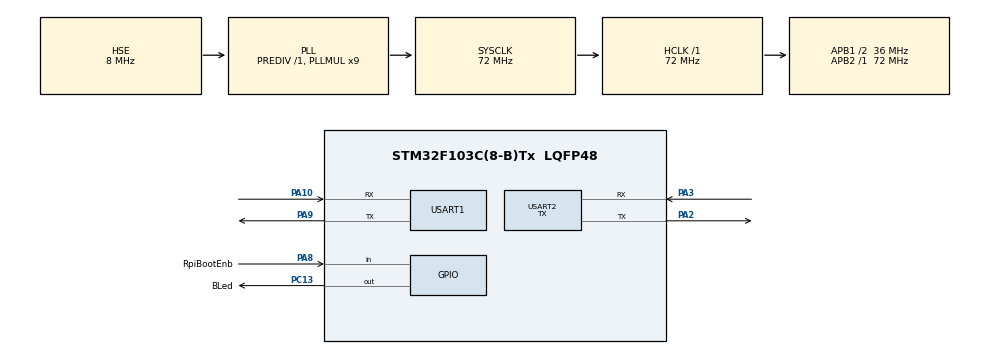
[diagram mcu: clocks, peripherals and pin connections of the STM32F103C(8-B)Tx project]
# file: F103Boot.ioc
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Mcu.Family=STM32F1
Mcu.Name=STM32F103C(8-B)Tx
Mcu.Package=LQFP48
NVIC.PriorityGroup=NVIC_PRIORITYGROUP_4
NVIC.USART1_IRQn=true\:0\:0\:false\:false\:true\:true\:true\:true
PA10.Mode=Asynchronous
PA10.Signal=USART1_RX
PA13.Mode=Serial_Wire
PA13.Signal=SYS_JTMS-SWDIO
PA14.Mode=Serial_Wire
PA14.Signal=SYS_JTCK-SWCLK
PA2.Mode=Asynchronous
PA2.Signal=USART2_TX
PA3.Mode=Asynchronous
PA3.Signal=USART2_RX
PA8.GPIO_Label=RpiBootEnb
PA8.Signal=GPIO_Input
PA9.Mode=Asynchronous
PA9.Signal=USART1_TX
PC13-TAMPER-RTC.GPIO_Label=BLed
PC13-TAMPER-RTC.Signal=GPIO_Output
PD0-OSC_IN.Mode=HSE-External-Oscillator
PD0-OSC_IN.Signal=RCC_OSC_IN
PD1-OSC_OUT.Mode=HSE-External-Oscillator
PD1-OSC_OUT.Signal=RCC_OSC_OUT
ProjectManager.HeapSize=0x200
ProjectManager.StackSize=0x400
ProjectManager.TargetToolchain=STM32CubeIDE
RCC.AHBFreq_Value=72000000
RCC.APB1CLKDivider=RCC_HCLK_DIV2
RCC.APB1Freq_Value=36000000
RCC.APB1TimFreq_Value=72000000
RCC.APB2Freq_Value=72000000
RCC.APB2TimFreq_Value=72000000
RCC.HCLKFreq_Value=72000000
RCC.PLLMUL=RCC_PLL_MUL9
RCC.PLLSourceVirtual=RCC_PLLSOURCE_HSE
RCC.SYSCLKFreq_VALUE=72000000
RCC.SYSCLKSource=RCC_SYSCLKSOURCE_PLLCLK
RCC.USBFreq_Value=72000000
USART1.VirtualMode=VM_ASYNC
USART2.Mode=MODE_TX
USART2.VirtualMode=VM_ASYNC
board=custom

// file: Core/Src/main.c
/* USER CODE BEGIN Header */
/**
  ******************************************************************************
  * @file           : main.c
  * @brief          : Main program body
  ******************************************************************************
  * @attention
  *
  * Copyright (c) 2023 STMicroelectronics.
  * All rights reserved.
  *
  * This software is licensed under terms that can be found in the LICENSE file
  * in the root directory of this software component.
  * If no LICENSE file comes with this software, it is provided AS-IS.
  *
  ******************************************************************************
  */
/* USER CODE END Header */
#include "main.h"

/* USER CODE BEGIN Includes */
#include <stdio.h>
#include <string.h>
#include <stdbool.h>
/* USER CODE END Includes */

/* USER CODE BEGIN PTD */
// Memory configuration
#define MAX_BLOCK_SIZE          1024                      // 1KB block size
#define ETX_APP_START_ADDRESS   0x08004400                // Application start address
#define MAX_FIRMWARE_SIZE       (47 * 1024)               // 47KB max for F103

// Protocol constants
#define PROTOCOL_START_BYTE     '{'
#define PROTOCOL_END_BYTE       '}'
#define PROTOCOL_ACK_BYTE       'O'
#define PROTOCOL_NACK_BYTE      'N'

// Handshake validation
#define HANDSHAKE_MIN_INDEX     4
#define HANDSHAKE_MAX_INDEX     8

// Flash configuration
#define FLASH_ERASE_PAGES       47                        // Number of pages to erase

// State machine - Clean enum instead of magic numbers
typedef enum {
    BOOTLOADER_STATE_IDLE = 0,
    BOOTLOADER_STATE_HANDSHAKE_RECEIVED = 10,
    BOOTLOADER_STATE_TRANSFERRING = 20,
    BOOTLOADER_STATE_COMPLETE = 30,
    BOOTLOADER_STATE_ERROR = 255
} BootloaderState_t;

/* USER CODE END PTD */

UART_HandleTypeDef huart1;
UART_HandleTypeDef huart2;

void SystemClock_Config(void);
static void MX_GPIO_Init(void);
static void MX_USART1_UART_Init(void);
static void MX_USART2_UART_Init(void);
/* USER CODE BEGIN PFP */
static void Application( void );
static void Firmware_Update( void );

// Helper functions for better code organization
static bool Validate_Handshake_Byte(uint8_t byte);
static bool Parse_Firmware_Size(void);
static void Send_ACK_Response(void);
static void Handle_Block_Complete(void);
static uint8_t Calculate_Checksum(const uint8_t *block, uint32_t size);
static void Reset_Transfer_State(void);

/* USER CODE END PFP */

/* USER CODE BEGIN 0 */
// ============================================================================
// BOOTLOADER STATE MACHINE VARIABLES
// ============================================================================
static BootloaderState_t bootloader_state = BOOTLOADER_STATE_IDLE;
static uint8_t ack_byte = PROTOCOL_ACK_BYTE;

// ============================================================================
// UART RECEPTION VARIABLES
// ============================================================================
static uint8_t uart_rx_byte = 0;

// ============================================================================
// DATA BLOCK RECEPTION VARIABLES
// ============================================================================
static uint8_t data_block[MAX_BLOCK_SIZE];
static uint16_t block_index = 0;
static uint32_t block_index_saved = 0;  // Saved before reset for checksum

// ============================================================================
// FIRMWARE SIZE TRACKING
// ============================================================================
static uint32_t firmware_total_size = 0;
static uint32_t firmware_received_size = 0;
static uint32_t bytes_remaining = MAX_BLOCK_SIZE;
static uint32_t current_block_size = MAX_BLOCK_SIZE;

// ============================================================================
// CHECKSUM VARIABLES
// ============================================================================
static uint8_t checksum_response[1] = {0};

// ============================================================================
// FLASH WRITE VARIABLES
// ============================================================================
static uint32_t flash_write_index = 0;

// ============================================================================
// TIMEOUT AND STATUS COUNTERS
// ============================================================================
static uint8_t handshake_count = 0;
static uint32_t idle_timeout_counter = 0;
static bool transfer_error_flag = false;

/* USER CODE END 0 */

int main(void)
{

  /* MCU Configuration--------------------------------------------------------*/

  /* Reset of all peripherals, Initializes the Flash interface and the Systick. */
  HAL_Init();

  /* Configure the system clock */
  SystemClock_Config();

  /* Initialize all configured peripherals */
  MX_GPIO_Init();
  MX_USART1_UART_Init();
  MX_USART2_UART_Init();
  /* USER CODE BEGIN 2 */

  // Print banner
  printf("\r\n");
  printf("╔════════════════════════════════════════════════════════════════╗\r\n");
  printf("║       STM32F103 Bootloader v3.0 (Production Quality)          ║\r\n");
  printf("╠════════════════════════════════════════════════════════════════╣\r\n");
  printf("║  Application: 0x%08lX                                      ║\r\n", ETX_APP_START_ADDRESS);
  printf("║  Max Size:    %d KB                                         ║\r\n", MAX_FIRMWARE_SIZE / 1024);
  printf("║  Block Size:  %d bytes                                      ║\r\n", MAX_BLOCK_SIZE);
  printf("╚════════════════════════════════════════════════════════════════╝\r\n");
  printf("\r\n");

  // Start UART reception in interrupt mode
  HAL_UART_Receive_IT(&huart1, &uart_rx_byte, 1);

  // Run firmware update process
  Firmware_Update();

  // Jump to user application
  Application();

  /* USER CODE END 2 */

  /* Infinite loop */
  while (1)
  {

  }
}

void SystemClock_Config(void)
{
  RCC_OscInitTypeDef RCC_OscInitStruct = {0};
  RCC_ClkInitTypeDef RCC_ClkInitStruct = {0};

  /** Initializes the RCC Oscillators according to the specified parameters
  * in the RCC_OscInitTypeDef structure.
  */
  RCC_OscInitStruct.OscillatorType = RCC_OSCILLATORTYPE_HSE;
  RCC_OscInitStruct.HSEState = RCC_HSE_ON;
  RCC_OscInitStruct.HSEPredivValue = RCC_HSE_PREDIV_DIV1;
  RCC_OscInitStruct.HSIState = RCC_HSI_ON;
  RCC_OscInitStruct.PLL.PLLState = RCC_PLL_ON;
  RCC_OscInitStruct.PLL.PLLSource = RCC_PLLSOURCE_HSE;
  RCC_OscInitStruct.PLL.PLLMUL = RCC_PLL_MUL9;
  if (HAL_RCC_OscConfig(&RCC_OscInitStruct) != HAL_OK)
  {
    Error_Handler();
  }

  /** Initializes the CPU, AHB and APB buses clocks
  */
  RCC_ClkInitStruct.ClockType = RCC_CLOCKTYPE_HCLK|RCC_CLOCKTYPE_SYSCLK
                              |RCC_CLOCKTYPE_PCLK1|RCC_CLOCKTYPE_PCLK2;
  RCC_ClkInitStruct.SYSCLKSource = RCC_SYSCLKSOURCE_PLLCLK;
  RCC_ClkInitStruct.AHBCLKDivider = RCC_SYSCLK_DIV1;
  RCC_ClkInitStruct.APB1CLKDivider = RCC_HCLK_DIV2;
  RCC_ClkInitStruct.APB2CLKDivider = RCC_HCLK_DIV1;

  if (HAL_RCC_ClockConfig(&RCC_ClkInitStruct, FLASH_LATENCY_2) != HAL_OK)
  {
    Error_Handler();
  }
}

static void MX_USART1_UART_Init(void)
{

  huart1.Instance = USART1;
  huart1.Init.BaudRate = 115200;
  huart1.Init.WordLength = UART_WORDLENGTH_8B;
  huart1.Init.StopBits = UART_STOPBITS_1;
  huart1.Init.Parity = UART_PARITY_NONE;
  huart1.Init.Mode = UART_MODE_TX_RX;
  huart1.Init.HwFlowCtl = UART_HWCONTROL_NONE;
  huart1.Init.OverSampling = UART_OVERSAMPLING_16;
  if (HAL_UART_Init(&huart1) != HAL_OK)
  {
    Error_Handler();
  }

}

static void MX_USART2_UART_Init(void)
{

  huart2.Instance = USART2;
  huart2.Init.BaudRate = 115200;
  huart2.Init.WordLength = UART_WORDLENGTH_8B;
  huart2.Init.StopBits = UART_STOPBITS_1;
  huart2.Init.Parity = UART_PARITY_NONE;
  huart2.Init.Mode = UART_MODE_TX;
  huart2.Init.HwFlowCtl = UART_HWCONTROL_NONE;
  huart2.Init.OverSampling = UART_OVERSAMPLING_16;
  if (HAL_UART_Init(&huart2) != HAL_OK)
  {
    Error_Handler();
  }

}

static void MX_GPIO_Init(void)
{
  GPIO_InitTypeDef GPIO_InitStruct = {0};

  /* GPIO Ports Clock Enable */
  __HAL_RCC_GPIOC_CLK_ENABLE();
  __HAL_RCC_GPIOD_CLK_ENABLE();
  __HAL_RCC_GPIOA_CLK_ENABLE();

  /*Configure GPIO pin Output Level */
  HAL_GPIO_WritePin(BLed_GPIO_Port, BLed_Pin, GPIO_PIN_RESET);

  /*Configure GPIO pin : BLed_Pin */
  GPIO_InitStruct.Pin = BLed_Pin;
  GPIO_InitStruct.Mode = GPIO_MODE_OUTPUT_PP;
  GPIO_InitStruct.Pull = GPIO_NOPULL;
  GPIO_InitStruct.Speed = GPIO_SPEED_FREQ_LOW;
  HAL_GPIO_Init(BLed_GPIO_Port, &GPIO_InitStruct);

  /*Configure GPIO pin : RpiBootEnb_Pin */
  GPIO_InitStruct.Pin = RpiBootEnb_Pin;
  GPIO_InitStruct.Mode = GPIO_MODE_INPUT;
  GPIO_InitStruct.Pull = GPIO_NOPULL;
  HAL_GPIO_Init(RpiBootEnb_GPIO_Port, &GPIO_InitStruct);

}

/* USER CODE BEGIN 4 */

#ifdef __GNUC__
  /* With GCC, small printf (option LD Linker->Libraries->Small printf
     set to 'Yes') calls __io_putchar() */
int __io_putchar(int ch)
#else
int fputc(int ch, FILE *f)
#endif /* __GNUC__ */
{
  /* Place your implementation of fputc here */
  /* e.g. write a character to the UART3 and Loop until the end of transmission */
  HAL_UART_Transmit(&huart2, (uint8_t *)&ch, 1, HAL_MAX_DELAY);

  return ch;
}

/**
  * @brief  Write data block to application flash area
  * @param  data: Pointer to data buffer
  * @param  data_len: Length of data in bytes
  * @param  is_first_block: true if this is the first block (triggers erase)
  * @retval HAL_StatusTypeDef
  */
static HAL_StatusTypeDef write_data_to_flash_app(uint8_t *data,
                                                  uint16_t data_len,
                                                  bool is_first_block)
{
    HAL_StatusTypeDef status = HAL_OK;

    // Validate input parameters
    if(data == NULL || data_len == 0)
    {
        printf("ERROR: Invalid flash write parameters\r\n");
        return HAL_ERROR;
    }

    // Unlock flash for write operations
    status = HAL_FLASH_Unlock();
    if(status != HAL_OK)
    {
        printf("ERROR: Flash unlock failed\r\n");
        return status;
    }

    // Erase flash on first block
    if(is_first_block)
    {
        printf("Erasing application flash area...\r\n");

        FLASH_EraseInitTypeDef erase_config;
        uint32_t erase_error = 0;

        erase_config.TypeErase = FLASH_TYPEERASE_PAGES;
        erase_config.PageAddress = ETX_APP_START_ADDRESS;
        erase_config.NbPages = FLASH_ERASE_PAGES;

        // CRITICAL: Disable interrupts during erase to prevent corruption
        __disable_irq();
        status = HAL_FLASHEx_Erase(&erase_config, &erase_error);
        __enable_irq();

        if(status != HAL_OK)
        {
            printf("ERROR: Flash erase failed (error: 0x%08lX)\r\n", erase_error);
            HAL_FLASH_Lock();
            return status;
        }

        flash_write_index = 0;
        printf("Flash erase complete\r\n");
    }

    // Write data (F103 uses HALFWORD programming)
    uint32_t write_address = ETX_APP_START_ADDRESS + flash_write_index;

    for(uint16_t i = 0; i < data_len; i += 2)
    {
        uint16_t halfword;

        // Handle odd data length
        if(i + 1 < data_len)
        {
            halfword = data[i] | (data[i + 1] << 8);
        }
        else
        {
            halfword = data[i] | 0xFF00;  // Pad with 0xFF
        }

        status = HAL_FLASH_Program(FLASH_TYPEPROGRAM_HALFWORD,
                                   write_address,
                                   halfword);

        if(status != HAL_OK)
        {
            printf("ERROR: Flash write failed at 0x%08lX\r\n", write_address);
            break;
        }

        write_address += 2;
        flash_write_index += 2;
    }

    // Lock flash
    HAL_FLASH_Lock();

    return status;
}

/**
  * @brief  Calculate checksum (first byte + last byte) & 0xFF
  * @param  block: Pointer to data block
  * @param  size: Size of block
  * @retval Calculated checksum
  */
static uint8_t Calculate_Checksum(const uint8_t *block, uint32_t size)
{
    if(block == NULL || size == 0)
    {
        return 0;
    }

    return (block[0] + block[size - 1]) & 0xFF;
}

/**
  * @brief  Reset transfer state to idle
  * @retval None
  */
static void Reset_Transfer_State(void)
{
    bootloader_state = BOOTLOADER_STATE_IDLE;
    block_index = 0;
    firmware_total_size = 0;
    firmware_received_size = 0;
    bytes_remaining = MAX_BLOCK_SIZE;
    current_block_size = MAX_BLOCK_SIZE;
    transfer_error_flag = false;
    memset(data_block, 0, sizeof(data_block));
}

/**
  * @brief  UART RX Callback - Called on each byte received
  * @param  huart: UART handle
  * @retval None
  */
void HAL_UART_RxCpltCallback(UART_HandleTypeDef *huart)
{
    // Reset idle counter
    idle_timeout_counter = 0;

    // LED toggle for activity indication
    HAL_GPIO_TogglePin(BLed_GPIO_Port, BLed_Pin);

    // Buffer overflow protection - CRITICAL SAFETY CHECK
    if(block_index >= MAX_BLOCK_SIZE)
    {
        printf("ERROR: Buffer overflow detected!\r\n");
        transfer_error_flag = true;
        block_index = 0;
        HAL_UART_Receive_IT(&huart1, &uart_rx_byte, 1);
        return;
    }

    // Store received byte
    data_block[block_index++] = uart_rx_byte;

    // ===========================================================================
    // HANDSHAKE STATE: Wait for {SIZE} packet
    // ===========================================================================
    if(bootloader_state != BOOTLOADER_STATE_TRANSFERRING)
    {
        // Look for start byte '{'
        if((PROTOCOL_START_BYTE == uart_rx_byte || data_block[0] == 0x7B) &&
           bootloader_state == BOOTLOADER_STATE_IDLE)
        {
            bootloader_state = BOOTLOADER_STATE_HANDSHAKE_RECEIVED;
        }

        // Check for complete handshake packet
        if(bootloader_state == BOOTLOADER_STATE_HANDSHAKE_RECEIVED &&
           (PROTOCOL_END_BYTE == uart_rx_byte || uart_rx_byte == 0x7D) &&
           block_index < HANDSHAKE_MAX_INDEX && block_index > HANDSHAKE_MIN_INDEX)
        {
            // Parse firmware size (big-endian)
            data_block[0] = 0;  // Clear markers
            data_block[5] = 0;
            firmware_total_size = ((uint32_t)data_block[1] << 24) |
                                 ((uint32_t)data_block[2] << 16) |
                                 ((uint32_t)data_block[3] << 8)  |
                                 ((uint32_t)data_block[4]);

            // Validate firmware size
            if(firmware_total_size > MAX_FIRMWARE_SIZE)
            {
                printf("ERROR: Firmware too large (%lu bytes). Max: %d KB\r\n",
                       firmware_total_size, MAX_FIRMWARE_SIZE / 1024);
                Reset_Transfer_State();
                HAL_UART_Receive_IT(&huart1, &uart_rx_byte, 1);
                return;
            }

            // Handshake successful
            printf("Handshake OK: Firmware size = %lu bytes\r\n", firmware_total_size);
            bytes_remaining = firmware_total_size;
            firmware_received_size = 0;
            handshake_count++;
            block_index = 0;
            bootloader_state = BOOTLOADER_STATE_TRANSFERRING;
        }
    }

    // ===========================================================================
    // DATA TRANSFER STATE: Receive firmware blocks
    // ===========================================================================
    if(block_index == current_block_size)
    {
        // Save block index before reset (needed for checksum)
        block_index_saved = block_index;

        // Update remaining bytes
        if(bytes_remaining >= MAX_BLOCK_SIZE)
        {
            bytes_remaining -= current_block_size;
            current_block_size = MAX_BLOCK_SIZE;
            firmware_received_size += current_block_size;
        }
        else if(bytes_remaining < MAX_BLOCK_SIZE)
        {
            current_block_size = bytes_remaining;
            firmware_received_size += current_block_size;
        }

        // Write to flash if block is complete or transfer is done
        if((block_index == MAX_BLOCK_SIZE) ||
           (firmware_received_size >= firmware_total_size))
        {
            printf("\rProgress: %lu / %lu bytes\r\n",
                   firmware_received_size, firmware_total_size);

            // Write block to flash
            if(write_data_to_flash_app(data_block, block_index_saved,
                                      (firmware_received_size <= MAX_BLOCK_SIZE)) != HAL_OK)
            {
                printf("ERROR: Flash write failed!\r\n");
                transfer_error_flag = true;
            }
        }

        // Reset block buffer
        block_index = 0;

        // Calculate and prepare checksum response
        checksum_response[0] = Calculate_Checksum(data_block, block_index_saved);
        memset(data_block, 0, sizeof(data_block));
    }

    // Re-enable UART interrupt for next byte
    HAL_UART_Receive_IT(&huart1, &uart_rx_byte, 1);
}
/**
  * @brief  Firmware update main loop
  * @retval None
  */
static void Firmware_Update(void)
{
    const uint32_t TIMEOUT_MS = 50000;  // 50 second timeout
    bool checksum_sent = false;

    printf("Bootloader ready - waiting for firmware...\r\n");

    while(1)
    {
        // Send ACK after successful handshake
        if(bootloader_state == BOOTLOADER_STATE_TRANSFERRING && !checksum_sent)
        {
            HAL_Delay(1);
            HAL_UART_Transmit_IT(&huart1, &ack_byte, 1);
            checksum_sent = true;
        }

        // Send checksum response if block complete
        if(block_index_saved > 0)
        {
            HAL_Delay(1);
            HAL_UART_Transmit_IT(&huart1, checksum_response, 1);
            block_index_saved = 0;
        }

        // LED heartbeat
        idle_timeout_counter++;
        if(idle_timeout_counter % 10 == 0)
        {
            HAL_GPIO_TogglePin(BLed_GPIO_Port, BLed_Pin);
        }

        HAL_Delay(1);

        // Check transfer complete
        if((firmware_received_size >= firmware_total_size) &&
           (bootloader_state == BOOTLOADER_STATE_TRANSFERRING) &&
           (idle_timeout_counter > 1000))
        {
            // Send final checksum
            HAL_UART_Transmit_IT(&huart1, checksum_response, 1);
            printf("Firmware transfer complete!\r\n");
            bootloader_state = BOOTLOADER_STATE_COMPLETE;
            break;
        }

        // Check timeout
        if(idle_timeout_counter > TIMEOUT_MS)
        {
            printf("Timeout: No data received\r\n");
            break;
        }

        // Check for errors
        if(transfer_error_flag)
        {
            printf("Transfer error detected\r\n");
            bootloader_state = BOOTLOADER_STATE_ERROR;
            break;
        }
    }
}
/**
  * @brief  Jump to user application
  * @retval None
  */
static void Application(void)
{
    printf("Preparing to jump to application...\r\n");

    // Get application reset handler address
    uint32_t app_reset_handler_address = *((volatile uint32_t*)(ETX_APP_START_ADDRESS + 4U));
    void (*app_reset_handler)(void) = (void*)app_reset_handler_address;

    // Validate application exists
    if(app_reset_handler_address == 0xFFFFFFFF)
    {
        printf("ERROR: No valid application found!\r\n");
        printf("Flash appears empty at 0x%08lX\r\n", ETX_APP_START_ADDRESS);
        while(1)
        {
            HAL_GPIO_TogglePin(BLed_GPIO_Port, BLed_Pin);
            HAL_Delay(200);  // Fast blink = error
        }
    }

    printf("Valid application found at 0x%08lX\r\n", ETX_APP_START_ADDRESS);
    printf("Reset handler: 0x%08lX\r\n", app_reset_handler_address);

    // Disable interrupts before jump
    __disable_irq();

    // Disable SysTick
    SysTick->CTRL = 0;
    SysTick->LOAD = 0;
    SysTick->VAL  = 0;

    // Set vector table offset
    SCB->VTOR = ETX_APP_START_ADDRESS;

    // Set stack pointer
    __set_MSP(*((volatile uint32_t*)ETX_APP_START_ADDRESS));

    // Turn off LED to indicate bootloader exit
    HAL_GPIO_WritePin(BLed_GPIO_Port, BLed_Pin, GPIO_PIN_RESET);

    // Jump to application
    app_reset_handler();

    // Should never reach here
    while(1);
}

/* USER CODE END 4 */

void Error_Handler(void)
{
  __disable_irq();
  while (1)
  {
  }
}
